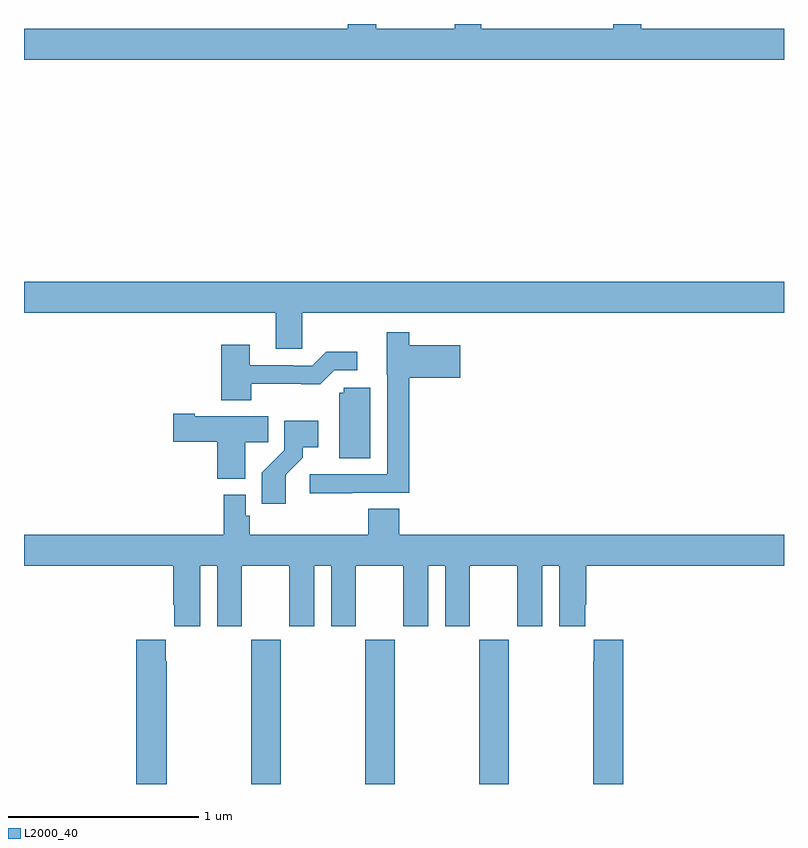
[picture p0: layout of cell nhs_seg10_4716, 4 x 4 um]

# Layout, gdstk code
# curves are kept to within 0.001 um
import gdstk
lib = gdstk.Library(unit=1e-6, precision=1e-09)
def R(c, l, rs):  # rectangles x0, y0, x1, y1
    for r in rs: c.add(gdstk.rectangle(r[:2], r[2:], *l))
def A(c, l, x, y, w, h, nx, ny, dx, dy):  # array of equal rectangles
    R(c, l, [(x+i*dx, y+j*dy, x+i*dx+w, y+j*dy+h) for i in range(nx) for j in range(ny)])
def P(c, l, *ps):  # polygons
    for p in ps: c.add(gdstk.Polygon(p, *l))
L2000_40 = (2000, 40)

nhs_seg10_4716 = lib.new_cell('nhs_seg10_4716')
A(nhs_seg10_4716, L2000_40, 382.195, 1300.5, 0.155, 0.76, 3, 1, 0.6, 0)
P(nhs_seg10_4716, L2000_40, [(385,1304.476),(384.249,1304.476),(384.249,1304.5),(384.101,1304.5),(384.101,1304.476),(383.407,1304.476),(383.407,1304.5),(383.267,1304.5),(383.267,1304.476),(382.855,1304.476),(382.855,1304.5),(382.703,1304.5),(382.703,1304.476),(381,1304.476),(381,1304.312),(385,1304.312)],
  [(382.464,1302.98),(385,1302.98),(385,1303.144),(381,1303.144),(381,1302.98),(382.325,1302.98),(382.325,1302.79),(382.464,1302.79)],
  [(382.727,1302.033),(383.027,1302.033),(383.027,1302.638),(383.296,1302.638),(383.296,1302.808),(383.027,1302.808),(383.027,1302.877),(382.91,1302.877),(382.91,1302.654),(382.911,1302.654),(382.911,1302.129),(382.503,1302.129),(382.503,1302.031),(382.727,1302.031)],
  [(382.197,1302.606),(382.559,1302.605),(382.632,1302.678),(382.753,1302.678),(382.753,1302.775),(382.591,1302.775),(382.518,1302.702),(382.418,1302.702),(382.418,1302.705),(382.189,1302.705),(382.189,1302.811),(382.037,1302.811),(382.037,1302.521),(382.197,1302.521)],
  [(382.822,1302.585),(382.683,1302.585),(382.683,1302.558),(382.658,1302.558),(382.658,1302.214),(382.822,1302.214)],
  [(382.165,1302.298),(382.286,1302.298),(382.286,1302.436),(381.898,1302.436),(381.898,1302.449),(381.786,1302.449),(381.786,1302.302),(382.016,1302.302),(382.016,1302.107),(382.165,1302.107)],
  [(382.378,1302.127),(382.468,1302.217),(382.468,1302.272),(382.549,1302.272),(382.549,1302.412),(382.371,1302.412),(382.371,1302.257),(382.252,1302.138),(382.252,1301.976),(382.378,1301.976)],
  [(381,1301.648),(381.785,1301.648),(381.785,1301.443),(381.791,1301.443),(381.791,1301.331),(381.928,1301.331),(381.928,1301.648),(382.016,1301.648),(382.016,1301.331),(382.147,1301.331),(382.147,1301.648),(382.397,1301.648),(382.397,1301.331),(382.528,1301.331),(382.528,1301.648),(382.616,1301.648),(382.616,1301.331),(382.747,1301.331),(382.747,1301.648),(382.997,1301.648),(382.997,1301.331),(383.128,1301.331),(383.128,1301.648),(383.216,1301.648),(383.216,1301.331),(383.347,1301.331),(383.347,1301.648),(383.597,1301.648),(383.597,1301.331),(383.728,1301.331),(383.728,1301.648),(383.816,1301.648),(383.816,1301.331),(383.953,1301.331),(383.953,1301.443),(383.96,1301.443),(383.96,1301.648),(385,1301.648),(385,1301.812),(382.976,1301.812),(382.976,1301.948),(382.811,1301.948),(382.811,1301.812),(382.187,1301.812),(382.187,1301.913),(382.167,1301.913),(382.167,1302.022),(382.051,1302.022),(382.051,1301.812),(381,1301.812)],
  [(381.75,1301.147),(381.745,1301.147),(381.745,1301.26),(381.59,1301.26),(381.59,1300.5),(381.75,1300.5)],
  [(384.155,1301.26),(383.999,1301.26),(383.999,1301.147),(383.995,1301.147),(383.995,1300.5),(384.155,1300.5)])

lib.write_gds('nhs_seg10_4716.gds')
